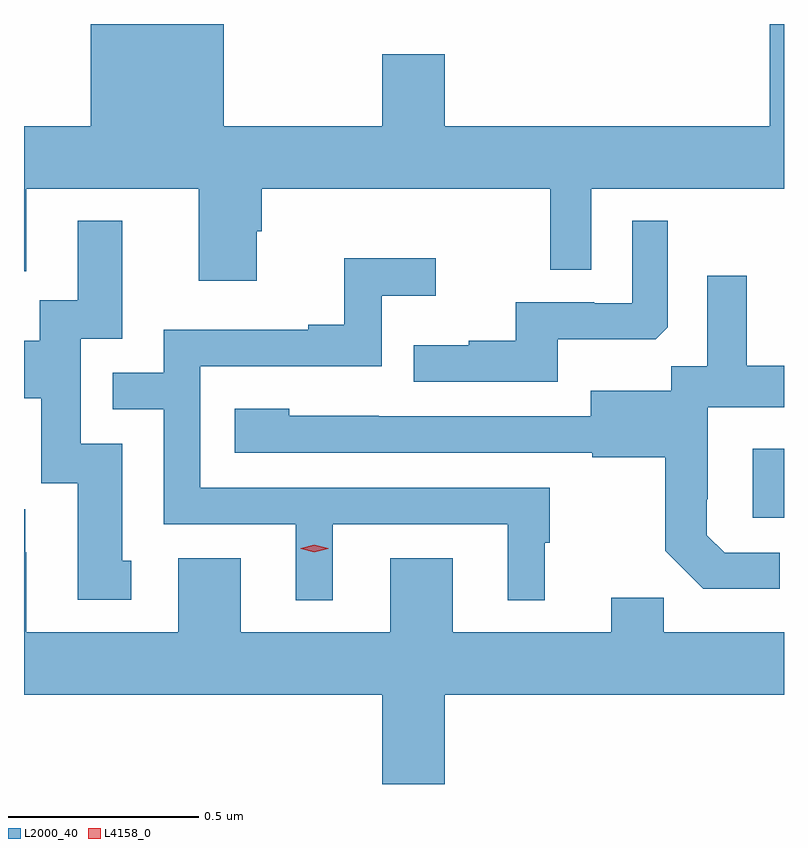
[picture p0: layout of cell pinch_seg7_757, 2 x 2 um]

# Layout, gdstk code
import gdstk
lib = gdstk.Library(unit=1e-6, precision=1e-09)
def R(c, l, rs):  # rectangles x0, y0, x1, y1
    for r in rs: c.add(gdstk.rectangle(r[:2], r[2:], *l))
def P(c, l, *ps):  # polygons
    for p in ps: c.add(gdstk.Polygon(p, *l))
L2000_40 = (2000, 40)
L4158_0 = (4158, 0)

pinch_seg7_757 = lib.new_cell('pinch_seg7_757')
R(pinch_seg7_757, L2000_40, [(345.803,1026.39,345.885,1026.571)])
P(pinch_seg7_757, L2000_40, [(344.497,1027.143),(344.51,1027.143),(344.51,1027.256),(345.27,1027.256),(345.27,1027.042),(345.378,1027.042),(345.378,1027.256),(345.885,1027.256),(345.885,1027.689),(345.848,1027.689),(345.848,1027.42),(344.992,1027.42),(344.992,1027.609),(344.828,1027.609),(344.828,1027.42),(344.41,1027.42),(344.41,1027.689),(344.06,1027.689),(344.06,1027.42),(343.885,1027.42),(343.885,1027.038),(343.891,1027.038),(343.891,1027.256),(344.345,1027.256),(344.345,1027.014),(344.497,1027.014)],
  [(345.289,1026.86),(345.547,1026.86),(345.579,1026.891),(345.579,1027.171),(345.486,1027.171),(345.486,1026.954),(345.386,1026.954),(345.386,1026.957),(345.179,1026.957),(345.179,1026.856),(345.055,1026.856),(345.055,1026.844),(344.911,1026.844),(344.911,1026.747),(345.289,1026.747)],
  [(344.167,1026.276),(344.143,1026.276),(344.143,1026.585),(344.034,1026.585),(344.034,1026.861),(344.143,1026.861),(344.143,1027.171),(344.027,1027.171),(344.027,1026.962),(343.926,1026.962),(343.926,1026.856),(343.885,1026.856),(343.885,1026.704),(343.931,1026.704),(343.931,1026.48),(344.027,1026.48),(344.027,1026.174),(344.167,1026.174)],
  [(344.698,1026.372),(345.158,1026.372),(345.158,1026.173),(345.256,1026.173),(345.256,1026.324),(345.268,1026.324),(345.268,1026.468),(344.349,1026.468),(344.349,1026.789),(344.826,1026.789),(344.826,1026.974),(344.968,1026.974),(344.968,1027.073),(344.728,1027.073),(344.728,1026.898),(344.633,1026.898),(344.633,1026.885),(344.253,1026.885),(344.253,1026.771),(344.119,1026.771),(344.119,1026.675),(344.253,1026.675),(344.253,1026.372),(344.6,1026.372),(344.6,1026.173),(344.698,1026.173)],
  [(345.874,1026.297),(345.729,1026.297),(345.682,1026.344),(345.682,1026.439),(345.684,1026.439),(345.684,1026.68),(345.885,1026.68),(345.885,1026.79),(345.787,1026.79),(345.787,1027.027),(345.683,1027.027),(345.683,1026.788),(345.588,1026.788),(345.588,1026.724),(345.377,1026.724),(345.377,1026.657),(344.819,1026.657),(344.819,1026.658),(344.583,1026.658),(344.583,1026.676),(344.439,1026.676),(344.439,1026.561),(345.381,1026.561),(345.381,1026.549),(345.573,1026.549),(345.573,1026.303),(345.673,1026.203),(345.874,1026.203)],
  [(344.992,1025.924),(345.885,1025.924),(345.885,1026.088),(345.569,1026.088),(345.569,1026.179),(345.431,1026.179),(345.431,1026.088),(345.013,1026.088),(345.013,1026.283),(344.849,1026.283),(344.849,1026.088),(344.455,1026.088),(344.455,1026.283),(344.291,1026.283),(344.291,1026.088),(343.891,1026.088),(343.891,1026.299),(343.888,1026.299),(343.888,1026.412),(343.885,1026.412),(343.885,1025.924),(344.828,1025.924),(344.828,1025.689),(344.992,1025.689)])
P(pinch_seg7_757, L4158_0, [(344.649,1026.299),(344.613,1026.308),(344.613,1026.309),(344.613,1026.309),(344.649,1026.319),(344.685,1026.309),(344.685,1026.309),(344.685,1026.308)])

lib.write_gds('pinch_seg7_757.gds')
